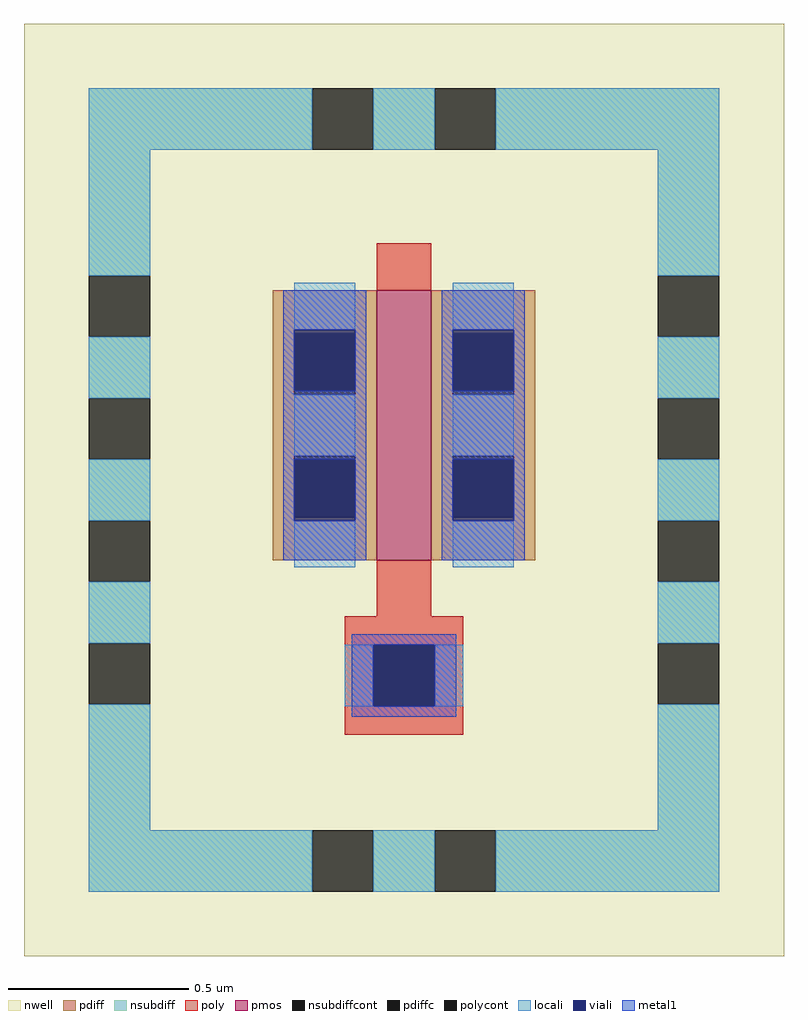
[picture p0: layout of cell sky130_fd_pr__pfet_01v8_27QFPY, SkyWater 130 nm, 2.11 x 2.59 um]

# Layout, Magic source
magic
tech sky130A
magscale 1 2
<< nwell >>
rect -211 -259 211 259
<< pmos >>
rect -15 -39 15 111
<< pdiff >>
rect -73 87 -15 111
rect -73 53 -61 87
rect -27 53 -15 87
rect -73 19 -15 53
rect -73 -15 -61 19
rect -27 -15 -15 19
rect -73 -39 -15 -15
rect 15 87 73 111
rect 15 53 27 87
rect 61 53 73 87
rect 15 19 73 53
rect 15 -15 27 19
rect 61 -15 73 19
rect 15 -39 73 -15
<< pdiffc >>
rect -61 53 -27 87
rect -61 -15 -27 19
rect 27 53 61 87
rect 27 -15 61 19
<< nsubdiff >>
rect -175 189 -51 223
rect -17 189 17 223
rect 51 189 175 223
rect -175 119 -141 189
rect 141 119 175 189
rect -175 51 -141 85
rect -175 -17 -141 17
rect 141 51 175 85
rect 141 -17 175 17
rect -175 -85 -141 -51
rect -175 -189 -141 -119
rect 141 -85 175 -51
rect 141 -189 175 -119
rect -175 -223 -51 -189
rect -17 -223 17 -189
rect 51 -223 175 -189
<< nsubdiffcont >>
rect -51 189 -17 223
rect 17 189 51 223
rect -175 85 -141 119
rect -175 17 -141 51
rect -175 -51 -141 -17
rect 141 85 175 119
rect 141 17 175 51
rect 141 -51 175 -17
rect -175 -119 -141 -85
rect 141 -119 175 -85
rect -51 -223 -17 -189
rect 17 -223 51 -189
<< poly >>
rect -15 111 15 137
rect -15 -70 15 -39
rect -33 -86 33 -70
rect -33 -120 -17 -86
rect 17 -120 33 -86
rect -33 -136 33 -120
<< polycont >>
rect -17 -120 17 -86
<< locali >>
rect -175 189 -51 223
rect -17 189 17 223
rect 51 189 175 223
rect -175 119 -141 189
rect 141 119 175 189
rect -175 51 -141 85
rect -175 -17 -141 17
rect -61 89 -27 115
rect -61 19 -27 53
rect -61 -43 -27 -17
rect 27 89 61 115
rect 27 19 61 53
rect 27 -43 61 -17
rect 141 51 175 85
rect 141 -17 175 17
rect -175 -85 -141 -51
rect 141 -85 175 -51
rect -175 -189 -141 -119
rect -33 -120 -17 -86
rect 17 -120 33 -86
rect 141 -189 175 -119
rect -175 -223 -51 -189
rect -17 -223 17 -189
rect 51 -223 175 -189
<< viali >>
rect -61 87 -27 89
rect -61 55 -27 87
rect -61 -15 -27 17
rect -61 -17 -27 -15
rect 27 87 61 89
rect 27 55 61 87
rect 27 -15 61 17
rect 27 -17 61 -15
rect -17 -120 17 -86
<< metal1 >>
rect -67 89 -21 111
rect -67 55 -61 89
rect -27 55 -21 89
rect -67 17 -21 55
rect -67 -17 -61 17
rect -27 -17 -21 17
rect -67 -39 -21 -17
rect 21 89 67 111
rect 21 55 27 89
rect 61 55 67 89
rect 21 17 67 55
rect 21 -17 27 17
rect 61 -17 67 17
rect 21 -39 67 -17
rect -29 -86 29 -80
rect -29 -120 -17 -86
rect 17 -120 29 -86
rect -29 -126 29 -120
<< properties >>
string FIXED_BBOX -158 -206 158 206
<< end >>
